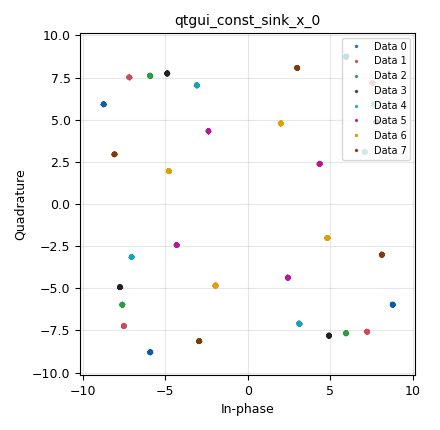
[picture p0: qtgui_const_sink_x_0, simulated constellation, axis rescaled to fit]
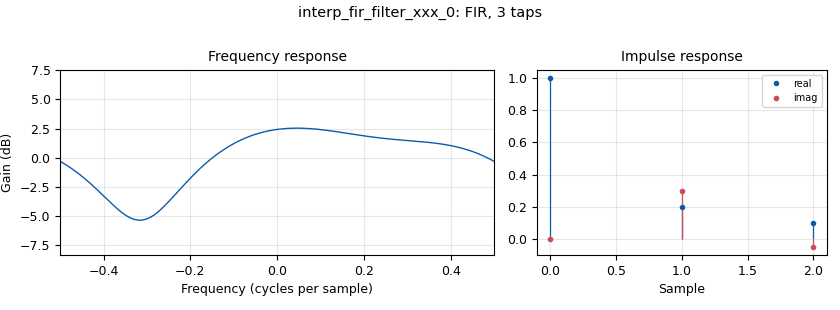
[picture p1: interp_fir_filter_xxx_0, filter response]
options:
  parameters:
    author: geevarjos
    generate_options: qt_gui
    id: OFDM_final
    output_language: python
    title: Not titled yet
  states: {}

blocks:
- name: FFTSIZE
  id: variable
  parameters:
    value: '8'
  states: {}
- name: h
  id: variable
  parameters:
    value: '[1.0, 0.2 + 0.3j, 0.1-0.05j]'
  states: {}
- name: myconst
  id: variable_constellation
  parameters:
    const_points: '[-1-1j, -1+1j, 1+1j, 1-1j]'
    dims: '1'
    normalization: digital.constellation.AMPLITUDE_NORMALIZATION
    precision: '8'
    rot_sym: '4'
    sym_map: '[0, 1, 3, 2]'
    type: calcdist
  states: {}
- name: noise_std
  id: variable_qtgui_range
  parameters:
    start: '0'
    step: '0.01'
    stop: '3'
    value: '0.01'
  states: {}
- name: samp_rate
  id: variable
  parameters:
    value: '32000'
  states: {}
- name: analog_noise_source_x_0
  id: analog_noise_source_x
  parameters:
    amp: noise_std
    noise_type: analog.GR_GAUSSIAN
    seed: '0'
    type: complex
  states: {}
- name: analog_random_source_x_0
  id: analog_random_source_x
  parameters:
    max: '4'
    min: '0'
    num_samps: '1000'
    repeat: 'True'
    type: byte
  states: {}
- name: blocks_add_xx_0
  id: blocks_add_xx
  parameters:
    type: complex
  states: {}
- name: blocks_null_sink_0
  id: blocks_null_sink
  parameters:
    num_inputs: '3'
    type: complex
  states: {}
- name: blocks_stream_demux_0
  id: blocks_stream_demux
  parameters:
    lengths: '[1]*FFTSIZE'
    num_outputs: FFTSIZE
    type: complex
  states: {}
- name: blocks_stream_demux_0_0
  id: blocks_stream_demux
  parameters:
    lengths: '[1]*(FFTSIZE + 3)'
    num_outputs: FFTSIZE + 3
    type: complex
  states: {}
- name: blocks_stream_demux_1
  id: blocks_stream_demux
  parameters:
    lengths: '[1]*FFTSIZE'
    num_outputs: FFTSIZE
    type: complex
  states: {}
- name: blocks_stream_mux_0
  id: blocks_stream_mux
  parameters:
    lengths: '[1]*(FFTSIZE+3)'
    num_inputs: FFTSIZE+3
    type: complex
  states: {}
- name: blocks_stream_mux_0_0
  id: blocks_stream_mux
  parameters:
    lengths: '[1]*FFTSIZE'
    num_inputs: FFTSIZE
    type: complex
  states: {}
- name: blocks_stream_to_vector_0
  id: blocks_stream_to_vector
  parameters:
    num_items: FFTSIZE
    type: complex
  states: {}
- name: blocks_stream_to_vector_1
  id: blocks_stream_to_vector
  parameters:
    num_items: FFTSIZE
    type: complex
  states: {}
- name: blocks_throttle2_0
  id: blocks_throttle2
  parameters:
    samples_per_second: samp_rate
    type: complex
  states: {}
- name: blocks_vector_to_stream_0
  id: blocks_vector_to_stream
  parameters:
    num_items: FFTSIZE
    type: complex
  states: {}
- name: blocks_vector_to_stream_0_0
  id: blocks_vector_to_stream
  parameters:
    num_items: FFTSIZE
    type: complex
  states: {}
- name: digital_constellation_encoder_bc_0
  id: digital_constellation_encoder_bc
  parameters:
    constellation: myconst
  states: {}
- name: fft_vxx_0
  id: fft_vxx
  parameters:
    fft_size: FFTSIZE
    forward: 'False'
    shift: 'False'
    type: complex
    window: '[1]*FFTSIZE'
  states: {}
- name: fft_vxx_1
  id: fft_vxx
  parameters:
    fft_size: FFTSIZE
    forward: 'True'
    shift: 'False'
    type: complex
    window: '[1]*FFTSIZE'
  states: {}
- name: interp_fir_filter_xxx_0
  id: interp_fir_filter_xxx
  parameters:
    alias: Channel
    interp: '1'
    taps: h
    type: ccc
  states: {}
- name: qtgui_const_sink_x_0
  id: qtgui_const_sink_x
  parameters:
    nconnections: FFTSIZE
    size: '1024'
    type: complex
  states: {}
- name: virtual_sink_0
  id: virtual_sink
  parameters:
    stream_id: x_ofdm
  states: {}
- name: virtual_sink_1
  id: virtual_sink
  parameters:
    stream_id: y_ofdm
  states: {}
- name: virtual_source_0
  id: virtual_source
  parameters:
    stream_id: x_ofdm
  states: {}
- name: virtual_source_1
  id: virtual_source
  parameters:
    stream_id: y_ofdm
  states: {}

connections:
- [analog_noise_source_x_0, '0', blocks_add_xx_0, '1']
- [analog_random_source_x_0, '0', digital_constellation_encoder_bc_0, '0']
- [blocks_add_xx_0, '0', virtual_sink_1, '0']
- [blocks_stream_demux_0, '0', blocks_stream_mux_0, '3']
- [blocks_stream_demux_0, '1', blocks_stream_mux_0, '4']
- [blocks_stream_demux_0, '2', blocks_stream_mux_0, '5']
- [blocks_stream_demux_0, '3', blocks_stream_mux_0, '6']
- [blocks_stream_demux_0, '4', blocks_stream_mux_0, '7']
- [blocks_stream_demux_0, '5', blocks_stream_mux_0, '0']
- [blocks_stream_demux_0, '5', blocks_stream_mux_0, '8']
- [blocks_stream_demux_0, '6', blocks_stream_mux_0, '1']
- [blocks_stream_demux_0, '6', blocks_stream_mux_0, '9']
- [blocks_stream_demux_0, '7', blocks_stream_mux_0, '10']
- [blocks_stream_demux_0, '7', blocks_stream_mux_0, '2']
- [blocks_stream_demux_0_0, '0', blocks_null_sink_0, '0']
- [blocks_stream_demux_0_0, '1', blocks_null_sink_0, '1']
- [blocks_stream_demux_0_0, '10', blocks_stream_mux_0_0, '7']
- [blocks_stream_demux_0_0, '2', blocks_null_sink_0, '2']
- [blocks_stream_demux_0_0, '3', blocks_stream_mux_0_0, '0']
- [blocks_stream_demux_0_0, '4', blocks_stream_mux_0_0, '1']
- [blocks_stream_demux_0_0, '5', blocks_stream_mux_0_0, '2']
- [blocks_stream_demux_0_0, '6', blocks_stream_mux_0_0, '3']
- [blocks_stream_demux_0_0, '7', blocks_stream_mux_0_0, '4']
- [blocks_stream_demux_0_0, '8', blocks_stream_mux_0_0, '5']
- [blocks_stream_demux_0_0, '9', blocks_stream_mux_0_0, '6']
- [blocks_stream_demux_1, '0', qtgui_const_sink_x_0, '0']
- [blocks_stream_demux_1, '1', qtgui_const_sink_x_0, '1']
- [blocks_stream_demux_1, '2', qtgui_const_sink_x_0, '2']
- [blocks_stream_demux_1, '3', qtgui_const_sink_x_0, '3']
- [blocks_stream_demux_1, '4', qtgui_const_sink_x_0, '4']
- [blocks_stream_demux_1, '5', qtgui_const_sink_x_0, '5']
- [blocks_stream_demux_1, '6', qtgui_const_sink_x_0, '6']
- [blocks_stream_demux_1, '7', qtgui_const_sink_x_0, '7']
- [blocks_stream_mux_0, '0', virtual_sink_0, '0']
- [blocks_stream_mux_0_0, '0', blocks_stream_to_vector_1, '0']
- [blocks_stream_to_vector_0, '0', fft_vxx_0, '0']
- [blocks_stream_to_vector_1, '0', fft_vxx_1, '0']
- [blocks_throttle2_0, '0', blocks_stream_to_vector_0, '0']
- [blocks_vector_to_stream_0, '0', blocks_stream_demux_0, '0']
- [blocks_vector_to_stream_0_0, '0', blocks_stream_demux_1, '0']
- [digital_constellation_encoder_bc_0, '0', blocks_throttle2_0, '0']
- [fft_vxx_0, '0', blocks_vector_to_stream_0, '0']
- [fft_vxx_1, '0', blocks_vector_to_stream_0_0, '0']
- [interp_fir_filter_xxx_0, '0', blocks_add_xx_0, '0']
- [virtual_source_0, '0', interp_fir_filter_xxx_0, '0']
- [virtual_source_1, '0', blocks_stream_demux_0_0, '0']

metadata:
  file_format: 1
  grc_version: 3.10.9.2
